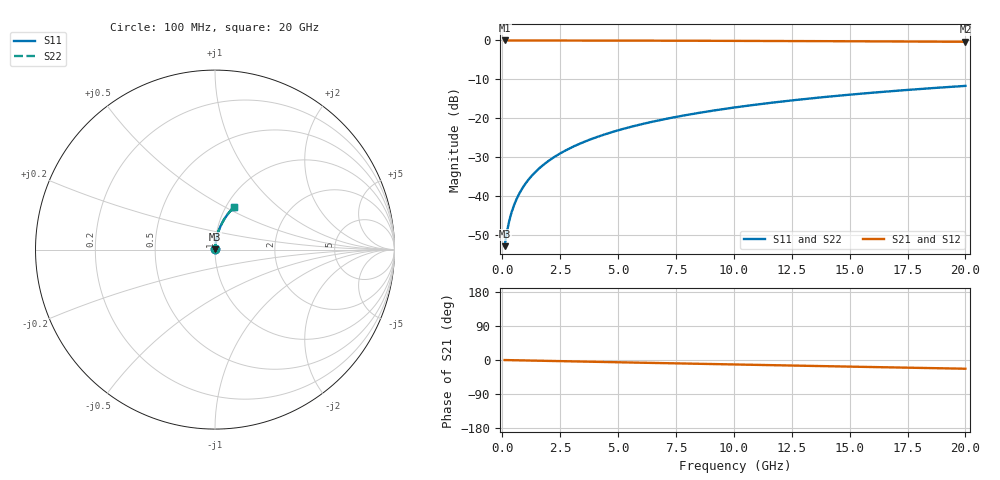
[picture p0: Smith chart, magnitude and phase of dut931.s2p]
! Touchstone file exported from HFSS 2026.1.0
!  File:  C:/ffzhzh/LocalFiles/Ansys_Project_Files/temp_train_BSMRDL_931_1783171931_55132.aedt
!  Generated:  09:33:27 PM Jul  4, 2026
!  Design:  BSMRDL
!  Project:  temp_train_BSMRDL_931_1783171931_55132
! Variables:
!  h_bsmrdl = 3.01um
!  h_ox = 20um
!  h_rdl = 5um
!  h_sub = 80um
!  h_tmrdl = 5um
!  h_tsv = 80um
!  h_via = 3um
!  l_bsmrdl = 265.27um
!  l_sub = 665.27um
!  l_tmrdl = 200um
!  m_sub = 200um
!  pitch = 57.28um
!  r_tsv = 6um
!  s_tmrdl = 10um
!  w_bsmrdl = 21.87um
!  w_sub = 500um
!  w_tmrdl = 12um
!  x_tsv_center1 = 206um
!  x_tsv_center2 = 493.14um
!  x_tsv_center3 = 705.14um
!  x_tsv_center4 = 992.28um
!  x_tsv_center5 = 1204.28um
!  x_tsv_center6 = 1491.42um
# GHz S MA R 50.000000
! Terminal data exported
! Port[1] = BSM_RDL1_1_T1
! Port[2] = BSM_RDL1_1_T2
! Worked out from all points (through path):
!   200 points, 100 MHz to 20 GHz, reference 50 ohm
!   highest |S21| = -0.01 dB at 100 MHz (marker M1); lowest = -0.4 dB at 20 GHz (marker M2)
!   group delay of S21, straight-line fit = 3.2 ps
!   lowest |S11| = -53.0 dB at 100 MHz (marker M3), VSWR 1.00, Z = 50.2 + j0.15 ohm
!   |S11| at or under -10 dB: start of sweep to end of sweep
!   |S22| runs from -53.0 to -11.7 dB; largest |S21 - S12| = 3e-15
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0.1  0.002251 41.5  0.9983 -0.1  0.9983 -0.1  0.002251 41.5
! Gamma 0 0 0 0
! Port Impedance 50 0 50 0
0.2  0.00344 59.5  0.9983 -0.2  0.9983 -0.2  0.00344 59.5
0.3  0.004768 67.5  0.9982 -0.4  0.9982 -0.4  0.004768 67.5
0.4  0.006125 71.8  0.9981 -0.5  0.9981 -0.5  0.006125 71.8
0.5  0.007488 74.6  0.9981 -0.6  0.9981 -0.6  0.007488 74.6
0.6  0.008854 76.5  0.998 -0.7  0.998 -0.7  0.008854 76.5
0.8  0.01159 79.0  0.9979 -1.0  0.9979 -1.0  0.01159 79.0
1.1  0.01572 81.0  0.9978 -1.3  0.9978 -1.3  0.01572 81.0
1.5  0.02125 82.4  0.9976 -1.8  0.9976 -1.8  0.02125 82.4
1.8  0.02541 82.9  0.9975 -2.2  0.9975 -2.2  0.02541 82.9
2.1  0.02958 83.2  0.9973 -2.5  0.9973 -2.5  0.02958 83.2
2.7  0.03791 83.3  0.997 -3.2  0.997 -3.2  0.03791 83.3
3.5  0.049 82.9  0.9964 -4.2  0.9964 -4.2  0.049 82.9
4.2  0.05866 82.5  0.9957 -5.0  0.9957 -5.0  0.05866 82.5
5  0.06965 81.8  0.9948 -6.0  0.9948 -6.0  0.06965 81.8
5.9  0.08194 80.9  0.9937 -7.0  0.9937 -7.0  0.08194 80.9
6.8  0.09414 80.0  0.9924 -8.1  0.9924 -8.1  0.09414 80.0
8.3  0.1142 78.4  0.9899 -9.8  0.9899 -9.8  0.1142 78.4
10.1  0.138 76.4  0.9864 -11.9  0.9864 -11.9  0.138 76.4
13.4  0.1803 72.8  0.9789 -15.7  0.9789 -15.7  0.1803 72.8
16.7  0.221 69.2  0.9699 -19.4  0.9699 -19.4  0.221 69.2
20  0.2599 65.7  0.9598 -23.0  0.9598 -23.0  0.2598 65.7
